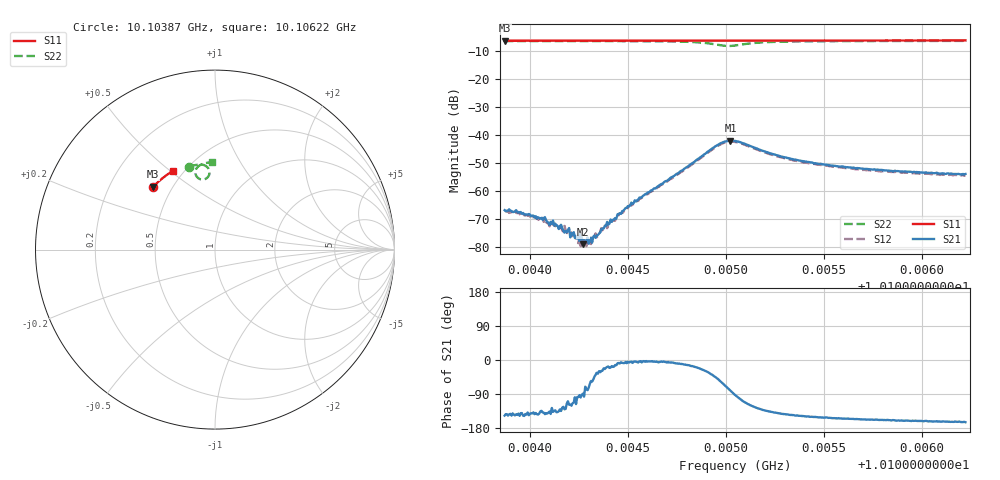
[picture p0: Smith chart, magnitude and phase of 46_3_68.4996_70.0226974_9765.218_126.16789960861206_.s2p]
#  HZ  S  RI  R  50.00
! Rohde & Schwarz Vector Network Analyzer
! Rohde-Schwarz,ZNB20-2Port,1311601062101988,3.16
! Created: UTC 3/20/2024, 4:50:39 PM
! freq[Hz]  re:S11  im:S11  re:S21  im:S21  re:S12  im:S12  re:S22  im:S22
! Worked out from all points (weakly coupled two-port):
!   401 points, 10.10387 GHz to 10.10622 GHz, reference 50 ohm
!   highest |S21| = -41.94 dB at 10.10502 GHz (marker M1); lowest = -79.1 dB at 10.10427 GHz (marker M2)
!   lowest |S11| = -6.2 dB at 10.10387 GHz (marker M3), VSWR 2.93, Z = 19.7 + j18.2 ohm
!   |S11| at or under -10 dB: nowhere
!   |S22| runs from -8.0 to -6.2 dB; largest |S21 - S12| = 0.00079
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1.010387e10  -0.3439 0.3503  -0.00038 -0.00025  -0.00033 -0.000276  -0.1434 0.4615
1.0103929e10  -0.3414 0.3529  -0.000364 -0.000273  -0.000322 -0.000255  -0.1394 0.4629
1.010407e10  -0.3354 0.3592  -0.000248 -0.000215  -0.000187 -0.00021  -0.1297 0.466
1.0104152e10  -0.3319 0.3628  -0.000153 -0.000181  -9.91e-05 -0.000193  -0.1236 0.4677
1.0104176e10  -0.3308 0.3637  -0.000116 -0.000138  -0.000103 -0.000214  -0.1219 0.4682
1.0104188e10  -0.3304 0.3645  -7.58e-05 -0.000165  -9.03e-05 -0.000155  -0.1209 0.4683
1.0104241e10  -0.3279 0.3666  -1.89e-05 -0.000139  -3.64e-05 -0.000117  -0.1169 0.4694
1.0104247e10  -0.3278 0.3667  -2.22e-05 -0.000157  -3.27e-06 -0.000117  -0.1165 0.4696
1.0104264e10  -0.3271 0.3674  -3.95e-06 -0.000144  1.39e-05 -0.000142  -0.115 0.4698
1.010427e10  -0.3267 0.3679  2.4e-06 -0.000111  3.64e-05 -0.000121  -0.1146 0.47
1.0104311e10  -0.325 0.3695  8.35e-05 -0.000121  7.44e-05 -8.43e-05  -0.1113 0.4709
1.0104347e10  -0.3233 0.3711  0.000133 -9.6e-05  0.000141 -7.45e-05  -0.1084 0.4713
1.0104382e10  -0.3218 0.3725  0.000219 -9.71e-05  0.000213 -5.93e-05  -0.1053 0.4719
1.0104505e10  -0.3164 0.3776  0.000529 -6.22e-05  0.000544 -1.64e-05  -0.0939 0.4736
1.0104658e10  -0.3093 0.3839  0.00124 -0.000131  0.00119 3.7e-05  -0.0764 0.4739
1.0104952e10  -0.2954 0.3951  0.0044 -0.00481  0.00465 -0.00421  -0.0322 0.4178
1.0105023e10  -0.2923 0.3974  0.00127 -0.00789  0.00189 -0.00745  -0.0701 0.3901
1.0105046e10  -0.2913 0.3983  -0.000303 -0.0079  0.000418 -0.00757  -0.0865 0.3939
1.0105264e10  -0.281 0.4067  -0.00333 -0.00279  -0.00296 -0.00292  -0.0964 0.4606
1.0105441e10  -0.2725 0.4133  -0.0028 -0.00162  -0.00252 -0.00176  -0.0765 0.4742
1.0105835e10  -0.2527 0.4268  -0.00215 -0.000838  -0.00199 -0.001  -0.0427 0.484
1.0106223e10  -0.2327 0.4391  -0.00194 -0.000553  -0.00177 -0.000693  -0.0145 0.4877
